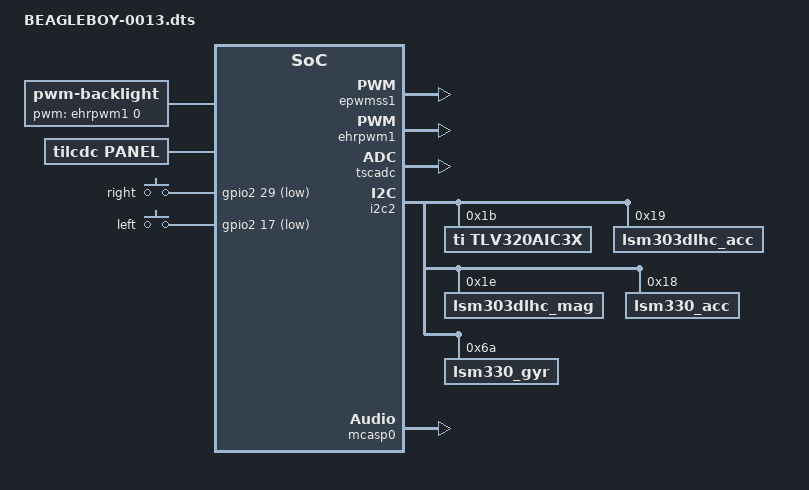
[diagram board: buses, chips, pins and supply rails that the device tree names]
/*
 * Copyright (C) 2012 Texas Instruments Incorporated - http://www.ti.com/
 *
 * This program is free software; you can redistribute it and/or modify
 * it under the terms of the GNU General Public License version 2 as
 * published by the Free Software Foundation.
 */
/dts-v1/;
/plugin/;

/ {
	compatible = "ti,beaglebone", "ti,beaglebone-black", "ti,beaglebone-green";

	/* identification */
	part-number = "BEAGLEBOY";
	version = "0013";

	/* state the resources this cape uses */
	exclusive-use =
		/* the pin header uses */
		"P8.45",	/* lcd: lcd_data0 */
		"P8.46",	/* lcd: lcd_data1 */
		"P8.43",	/* lcd: lcd_data2 */
		"P8.44",	/* lcd: lcd_data3 */
		"P8.41",	/* lcd: lcd_data4 */
		"P8.42",	/* lcd: lcd_data5 */
		"P8.39",	/* lcd: lcd_data6 */
		"P8.40",	/* lcd: lcd_data7 */
		"P8.37",	/* lcd: lcd_data8 */
		"P8.38",	/* lcd: lcd_data9 */
		"P8.36",	/* lcd: lcd_data10 */
		"P8.34",	/* lcd: lcd_data11 */
		"P8.35",	/* lcd: lcd_data12 */
		"P8.33",	/* lcd: lcd_data13 */
		"P8.31",	/* lcd: lcd_data14 */
		"P8.32",	/* lcd: lcd_data15 */
		"P8.27",	/* lcd: lcd_vsync */
		"P8.29",	/* lcd: lcd_hsync */
		"P8.28",	/* lcd: lcd_pclk */
		"P8.30",	/* lcd: lcd_ac_bias_en */
		"P9.14",	/* bl: ehrpwm1a*/
		"P9.39",	/* AIN0 */
		"P9.40",	/* AIN1 */
		"P9.37",	/* AIN2 */
		"P9.38",	/* AIN3 */
		"P9.33",	/* AIN4 */
		"P9.36",	/* AIN5 */
		"P9.35",	/* AIN6 */
		"P9.31",	/* mcasp0: mcasp0_aclkx */
		"P9.29",	/* mcasp0: mcasp0_fsx */
		"P9.28",	/* mcasp0: mcasp0_axr2 */
		"P9.25",	/* mcasp0: mcasp0_ahclkx */
		"P8.26",	/* sw1: gpio1_29 */
		"P9.23",	/* sw2: gpio1_17 */
		/* the hardware IP uses */
		"lcd",
		"ehrpwm1a",
		"tscadc",
		"mcasp0";

	fragment@0 {
		target = <&am33xx_pinmux>;
		__overlay__ {

			pwm_bl_pins: pinmux_pwm_bl_pins {
				pinctrl-single,pins = <
					0x48 0x06       /* gpmc_a2.ehrpwm1a, OMAP_MUX_MODE6 | AM33XX_PIN_OUTPUT */
				>;
			};

			bone_lcd3_cape_lcd_pins: pinmux_bone_lcd3_cape_lcd_pins {
				pinctrl-single,pins = <
					0xa0 0x08	/* lcd_data0.lcd_data0, OMAP_MUX_MODE0 | AM33XX_PIN_OUTPUT | AM33XX_PULL_DISA */
					0xa4 0x08	/* lcd_data1.lcd_data1, OMAP_MUX_MODE0 | AM33XX_PIN_OUTPUT | AM33XX_PULL_DISA */
					0xa8 0x08	/* lcd_data2.lcd_data2, OMAP_MUX_MODE0 | AM33XX_PIN_OUTPUT | AM33XX_PULL_DISA */
					0xac 0x08	/* lcd_data3.lcd_data3, OMAP_MUX_MODE0 | AM33XX_PIN_OUTPUT | AM33XX_PULL_DISA */
					0xb0 0x08	/* lcd_data4.lcd_data4, OMAP_MUX_MODE0 | AM33XX_PIN_OUTPUT | AM33XX_PULL_DISA */
					0xb4 0x08	/* lcd_data5.lcd_data5, OMAP_MUX_MODE0 | AM33XX_PIN_OUTPUT | AM33XX_PULL_DISA */
					0xb8 0x08	/* lcd_data6.lcd_data6, OMAP_MUX_MODE0 | AM33XX_PIN_OUTPUT | AM33XX_PULL_DISA */
					0xbc 0x08	/* lcd_data7.lcd_data7, OMAP_MUX_MODE0 | AM33XX_PIN_OUTPUT | AM33XX_PULL_DISA */
					0xc0 0x08	/* lcd_data8.lcd_data8, OMAP_MUX_MODE0 | AM33XX_PIN_OUTPUT | AM33XX_PULL_DISA */
					0xc4 0x08	/* lcd_data9.lcd_data9, OMAP_MUX_MODE0 | AM33XX_PIN_OUTPUT | AM33XX_PULL_DISA */
					0xc8 0x08	/* lcd_data10.lcd_data10, OMAP_MUX_MODE0 | AM33XX_PIN_OUTPUT | AM33XX_PULL_DISA */
					0xcc 0x08	/* lcd_data11.lcd_data11, OMAP_MUX_MODE0 | AM33XX_PIN_OUTPUT | AM33XX_PULL_DISA */
					0xd0 0x08	/* lcd_data12.lcd_data12, OMAP_MUX_MODE0 | AM33XX_PIN_OUTPUT | AM33XX_PULL_DISA */
					0xd4 0x08	/* lcd_data13.lcd_data13, OMAP_MUX_MODE0 | AM33XX_PIN_OUTPUT | AM33XX_PULL_DISA */
					0xd8 0x08	/* lcd_data14.lcd_data14, OMAP_MUX_MODE0 | AM33XX_PIN_OUTPUT | AM33XX_PULL_DISA */
					0xdc 0x08	/* lcd_data15.lcd_data15, OMAP_MUX_MODE0 | AM33XX_PIN_OUTPUT | AM33XX_PULL_DISA */
					0xe0 0x00	/* lcd_vsync.lcd_vsync, OMAP_MUX_MODE0 | AM33XX_PIN_OUTPUT */
					0xe4 0x00	/* lcd_hsync.lcd_hsync, OMAP_MUX_MODE0 | AM33XX_PIN_OUTPUT */
					0xe8 0x00	/* lcd_pclk.lcd_pclk, OMAP_MUX_MODE0 | AM33XX_PIN_OUTPUT */
					// 0xec 0x00    /* lcd_ac_bias_en.lcd_ac_bias_en, OMAP_MUX_MODE0 | AM33XX_PIN_OUTPUT */
					0xec 0x07       /* lcd_ac_bias_en.gpio2_25 OMAP_MUX_MODE7 | AM33XX_PIN_OUTPUT */

				>;
			};

			bone_audio_cape_audio_pins: pinmux_bone_audio_cape_audio_pins {
				pinctrl-single,pins = <
					0x190 0x20	/* mcasp0_aclkx.mcasp0_aclkx, INPUT | MODE0 */
					0x194 0x20	/* mcasp0_fsx.mcasp0_fsx, INPUT | MODE0 */
					0x19c 0x22	/* mcasp0_ahclkr.mcasp0_axr2, INPUT | MODE2 */
					0x1ac 0x22	/* mcasp0_ahclkx.mcasp0_axr3, INPUT | MODE2 */

				>;
			};

			button_pins: pinmux_button_pins {
				pinctrl-single,pins = <
					0x044 0x37	/* 49, gpio1_17, INPUT | PULLUP | MODE7 */
					0x07c 0x37	/* 61, gpio1_29, INPUT | PULLUP | MODE7 */
				>;
			};
		};
	};

	fragment@1 {
		target = <&epwmss1>;
		__overlay__ {
			status = "okay";
		};
	};

	fragment@2 {
		target = <&ehrpwm1>;
		__overlay__ {
			status = "okay";
		};
	};

	fragment@3 {
		target = <&ocp>;

		__overlay__ {

			/* avoid stupid warning */
			#address-cells = <1>;
			#size-cells = <1>;

			backlight {
				compatible      = "pwm-backlight";
				pinctrl-names   = "default";
				pinctrl-0       = <&pwm_bl_pins>;

				pwms = <&ehrpwm1 0 500000 0>;
				pwm-names = "LCD3";
				brightness-levels = <0 1 2 3 4 5 6 7 8 9 10 11 12 13 14 15 16 17 18 19 20 21 22 23 24 25 26 27 28 29 30 31 32 33 34 35 36 37 38 39 40 41 42 43 44 45 46 47 48 49 50 51 52 53 54 55 56 57 58 59 60 61 62 63 64 65 66 67 68 69 70 71 72 73 74 75 76 77 78 79 80 81 82 83 84 85 86 87 88 89 90 91 92 93 94 95 96 97 98 99 100>;
				default-brightness-level = <21>; /* index to the array above */
				status = "okay";
			};

			tscadc {
				compatible = "ti,ti-tscadc";
				reg = <0x44e0d000 0x1000>;

				interrupt-parent = <&intc>;
				interrupts = <16>;
				ti,hwmods = "adc_tsc";
				status = "okay";

				adc {
					ti,adc-channels = <0 1 2 3 4 5 6 7>;
				};
			};

			test_helper: helper {
				compatible = "bone-iio-helper";
				vsense-name  = "AIN0", "AIN1", "AIN2", "AIN3", "AIN4", "AIN5", "AIN6", "AIN7";
				vsense-scale = <100     100     100     100     100     100     100     100>;
				status = "okay";
			};

			/* Settings for CDTech_S035Q01 / LCD3 cape: */
			panel {
				compatible = "tilcdc,panel";
				pinctrl-names = "default";
				pinctrl-0 = <&bone_lcd3_cape_lcd_pins>;
				panel-info {
					ac-bias           = <255>;
					ac-bias-intrpt    = <0>;
					dma-burst-sz      = <16>;
					bpp               = <16>;
					fdd               = <0x80>;
					tft-alt-mode      = <0>;
					stn-565-mode      = <0>;
					mono-8bit-mode    = <0>;
					sync-edge         = <0>;
					sync-ctrl         = <1>;
					raster-order      = <0>;
					fifo-th           = <0>;
					invert-pxl-clk;
				};
				display-timings {
					native-mode = <&timing0>;
					timing0: 320x240 {
						hactive         = <320>;
						vactive         = <240>;
						hback-porch     = <22>;
						hfront-porch    = <59>;
						hsync-len       = <48>;
						vback-porch     = <12>;
						vfront-porch    = <23>;
						vsync-len       = <2>;
						clock-frequency = <8000000>;
						hsync-active    = <0>;
						vsync-active    = <0>;
					};
				};
			};

			fb {
				compatible = "ti,am33xx-tilcdc";
				reg = <0x4830e000 0x1000>;
				interrupt-parent = <&intc>;
				interrupts = <36>;
				ti,hwmods = "lcdc";
			};

			gaming_cape_keys {
				compatible = "gpio-keys";
				pinctrl-names = "default";
				pinctrl-0 = <&button_pins>;
				#address-cells = <1>;
				#size-cells = <0>;

				sw1 {
					label = "right";
					debounce_interval = <20>;
					linux,code = <0x111>; /* BTN_RIGHT */
					gpios = <&gpio2 29 0x5>; /* gpio1_29 */
				};

				sw2 {
					label = "left";
					debounce_interval = <20>;
					linux,code = <0x110>; /* BTN_LEFT */
					gpios = <&gpio2 17 0x5>; /* gpio1_17 */
				};
			};
		};
	};
	fragment@4 {
		target = <&i2c2>;
		__overlay__ {
			#address-cells = <1>;
			#size-cells = <0>;

			tlv320aic3x: tlv320aic3x@1b {
				compatible = "ti,tlv320aic3x";
				reg = <0x1b>;
				status = "okay";
			};

			lsm303dlhc_acc: lsm303dlhc_acc@0x19 {
				compatible = "lsm303dlhc_acc";
				reg = <0x19>;
				status = "okay";
			};

			lsm303dlhc_mag: lsm303dlhc_mag@0x1e {
				compatible = "lsm303dlhc_mag";
				reg = <0x1e>;
				status = "okay";
			};

			lsm330_acc: lsm330_acc@0x18 {
				compatible = "lsm330_acc";
				reg = <0x18>;
				status = "okay";
			};

			lsm330_gyr: lsm330_gyr@0x6a {
				compatible = "lsm330_gyr";
				reg = <0x6a>;
				status = "okay";
			};
		};
	};
	fragment@5 {
		target = <&mcasp0>;
		__overlay__ {
			pinctrl-names = "default";
			pinctrl-0 = <&bone_audio_cape_audio_pins>;

			status = "okay";

			op-mode = <0>;          /* MCASP_IIS_MODE */
			tdm-slots = <2>;
			num-serializer = <16>;
			serial-dir = <  /* 0: INACTIVE, 1: TX, 2: RX */
				0 0 2 1
				0 0 0 0
				0 0 0 0
				0 0 0 0
			>;
			tx-num-evt = <1>;
			rx-num-evt = <1>;
		};
	};

	fragment@6 {
		target = <&ocp>;
		__overlay__ {
			sound {
				compatible = "ti,da830-evm-audio";
				ti,model = "DA830 EVM";
				ti,audio-codec = <&tlv320aic3x>;
				ti,mcasp-controller = <&mcasp0>;
				ti,codec-clock-rate = <12000000>;
				ti,audio-routing =
					"Headphone Jack",       "HPLOUT",
					"Headphone Jack",       "HPROUT",
					"LINE1L",               "Line In",
					"LINE1R",               "Line In";
			};
		};
	};
};
